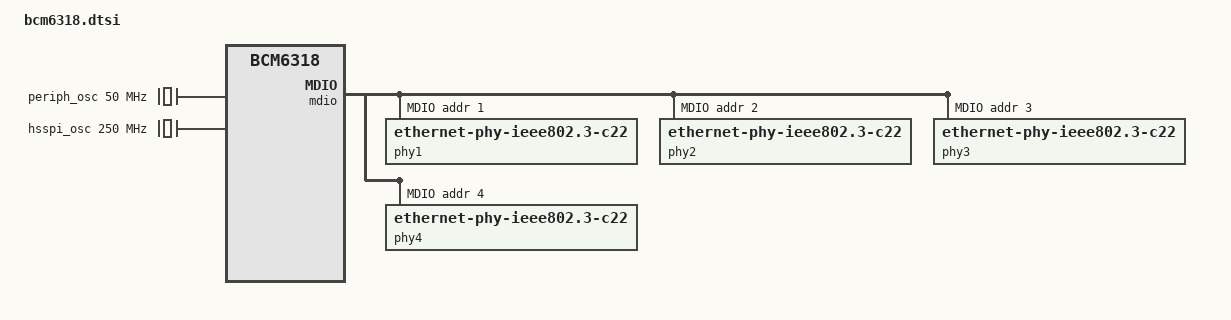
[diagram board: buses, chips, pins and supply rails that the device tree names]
// SPDX-License-Identifier: GPL-2.0-or-later

/dts-v1/;

#include <dt-bindings/clock/bcm6318-clock.h>
#include <dt-bindings/gpio/gpio.h>
#include <dt-bindings/input/input.h>
#include <dt-bindings/interrupt-controller/bcm6318-interrupt-controller.h>
#include <dt-bindings/reset/bcm6318-reset.h>
#include <dt-bindings/soc/bcm6318-pm.h>

/ {
	#address-cells = <1>;
	#size-cells = <1>;
	compatible = "brcm,bcm6318";

	aliases {
		pinctrl = &pinctrl;
		serial0 = &uart0;
		spi1 = &hsspi;
	};

	chosen {
		bootargs = "earlycon";
		stdout-path = "serial0:115200n8";
	};

	clocks {
		periph_osc: periph-osc {
			compatible = "fixed-clock";

			#clock-cells = <0>;

			clock-frequency = <50000000>;
			clock-output-names = "periph";
		};

		hsspi_osc: hsspi-osc {
			compatible = "fixed-clock";

			#clock-cells = <0>;

			clock-frequency = <250000000>;
			clock-output-names = "hsspi_osc";
		};
	};

	cpus {
		#address-cells = <1>;
		#size-cells = <0>;
		mips-hpt-frequency = <166500000>;

		cpu@0 {
			compatible = "brcm,bmips3300", "mips,mips4Kc";
			device_type = "cpu";
			reg = <0>;
		};
	};

	cpu_intc: interrupt-controller {
		#address-cells = <0>;
		compatible = "mti,cpu-interrupt-controller";

		interrupt-controller;
		#interrupt-cells = <1>;
	};

	memory@0 {
		device_type = "memory";
		reg = <0 0>;
	};

	ubus {
		#address-cells = <1>;
		#size-cells = <1>;

		compatible = "simple-bus";
		ranges;

		periph_clk: clock-controller@10000004 {
			compatible = "brcm,bcm6318-clocks";
			reg = <0x10000004 0x4>;
			#clock-cells = <1>;
		};

		ubus_clk: clock-controller@10000008 {
			compatible = "brcm,bcm6318-ubus-clocks";
			reg = <0x10000008 0x4>;
			#clock-cells = <1>;
		};

		periph_rst: reset-controller@10000010 {
			compatible = "brcm,bcm6345-reset";
			reg = <0x10000010 0x4>;
			#reset-cells = <1>;
		};

		ext_intc: interrupt-controller@10000018 {
			#address-cells = <1>;
			compatible = "brcm,bcm6318-ext-intc";
			reg = <0x10000018 0x4>;

			interrupt-controller;
			#interrupt-cells = <2>;

			interrupts = <BCM6318_IRQ_EXT0>,
				     <BCM6318_IRQ_EXT1>,
				     <BCM6318_IRQ_EXT2>,
				     <BCM6318_IRQ_EXT3>;
		};

		periph_intc: interrupt-controller@10000020 {
			#address-cells = <1>;
			compatible = "brcm,bcm6345-l1-intc";
			reg = <0x10000020 0x20>;

			interrupt-controller;
			#interrupt-cells = <1>;

			interrupt-parent = <&cpu_intc>;
			interrupts = <2>, <3>;
		};

		wdt: watchdog@10000068 {
			compatible = "brcm,bcm7038-wdt";
			reg = <0x10000068 0xc>;

			clocks = <&periph_osc>;

			timeout-sec = <30>;
		};

		pll_cntl: syscon@10000074 {
			compatible = "syscon", "simple-mfd";
			reg = <0x10000074 0x4>;
			native-endian;

			syscon-reboot {
				compatible = "syscon-reboot";
				offset = <0>;
				mask = <0x1>;
			};
		};

		gpio_cntl: syscon@10000080 {
			compatible = "brcm,bcm6318-gpio-sysctl",
				     "syscon", "simple-mfd";
			reg = <0x10000080 0x80>;
			ranges = <0 0x10000080 0x80>;
			native-endian;

			gpio: gpio@0 {
				compatible = "brcm,bcm6318-gpio";
				reg-names = "dirout", "dat";
				reg = <0x0 0x8>, <0x8 0x8>;

				gpio-controller;
				gpio-ranges = <&pinctrl 0 0 50>;
				#gpio-cells = <2>;
			};

			pinctrl: pinctrl@18 {
				compatible = "brcm,bcm6318-pinctrl";
				reg = <0x18 0x10>, <0x54 0x18>;

				pinctrl_ephy0_spd_led: ephy0_spd_led-pins {
					function = "ephy0_spd_led";
					pins = "gpio0";
				};

				pinctrl_ephy1_spd_led: ephy1_spd_led-pins {
					function = "ephy1_spd_led";
					pins = "gpio1";
				};

				pinctrl_ephy2_spd_led: ephy2_spd_led-pins {
					function = "ephy2_spd_led";
					pins = "gpio2";
				};

				pinctrl_ephy3_spd_led: ephy3_spd_led-pins {
					function = "ephy3_spd_led";
					pins = "gpio3";
				};

				pinctrl_ephy0_act_led: ephy0_act_led-pins {
					function = "ephy0_act_led";
					pins = "gpio4";
				};

				pinctrl_ephy1_act_led: ephy1_act_led-pins {
					function = "ephy1_act_led";
					pins = "gpio5";
				};

				pinctrl_ephy2_act_led: ephy2_act_led-pins {
					function = "ephy2_act_led";
					pins = "gpio6";
				};

				pinctrl_ephy3_act_led: ephy3_act_led-pins {
					function = "ephy3_act_led";
					pins = "gpio7";
				};

				pinctrl_serial_led: serial_led-pins {
					pinctrl_serial_led_data: serial_led_data-pins {
						function = "serial_led_data";
						pins = "gpio6";
					};

					pinctrl_serial_led_clk: serial_led_clk-pins {
						function = "serial_led_clk";
						pins = "gpio7";
					};
				};

				pinctrl_inet_act_led: inet_act_led-pins {
					function = "inet_act_led";
					pins = "gpio8";
				};

				pinctrl_inet_fail_led: inet_fail_led-pins {
					function = "inet_fail_led";
					pins = "gpio9";
				};

				pinctrl_dsl_led: dsl_led-pins {
					function = "dsl_led";
					pins = "gpio10";
				};

				pinctrl_post_fail_led: post_fail_led-pins {
					function = "post_fail_led";
					pins = "gpio11";
				};

				pinctrl_wlan_wps_led: wlan_wps_led-pins {
					function = "wlan_wps_led";
					pins = "gpio12";
				};

				pinctrl_usb_pwron: usb_pwron-pins {
					function = "usb_pwron";
					pins = "gpio13";
				};

				pinctrl_usb_device_led: usb_device_led-pins {
					function = "usb_device_led";
					pins = "gpio13";
				};

				pinctrl_usb_active: usb_active-pins {
					function = "usb_active";
					pins = "gpio40";
				};
			};
		};

		uart0: serial@10000100 {
			compatible = "brcm,bcm6345-uart";
			reg = <0x10000100 0x18>;

			interrupt-parent = <&periph_intc>;
			interrupts = <BCM6318_IRQ_UART0>;

			clocks = <&periph_osc>;
			clock-names = "periph";

			status = "disabled";
		};

		leds: led-controller@10000200 {
			#address-cells = <1>;
			#size-cells = <0>;
			compatible = "brcm,bcm6328-leds";
			reg = <0x10000200 0x24>;

			status = "disabled";
		};

		periph_pwr: power-controller@100008e8 {
			compatible = "brcm,bcm6318-power-controller";
			reg = <0x100008e8 0x4>;

			#power-domain-cells = <1>;
		};

		hsspi: spi@10003000 {
			#address-cells = <1>;
			#size-cells = <0>;
			compatible = "brcm,bcm6328-hsspi";
			reg = <0x10003000 0x600>;

			interrupt-parent = <&periph_intc>;
			interrupts = <BCM6318_IRQ_HSSPI>;

			clocks = <&periph_clk BCM6318_CLK_HSSPI>,
				 <&hsspi_osc>;
			clock-names = "hsspi",
				      "pll";

			resets = <&periph_rst BCM6318_RST_SPI>;

			status = "disabled";
		};

		ehci: usb@10005000 {
			compatible = "brcm,bcm6318-ehci", "generic-ehci";
			reg = <0x10005000 0x100>;
			big-endian;
			spurious-oc;

			interrupt-parent = <&periph_intc>;
			interrupts = <BCM6318_IRQ_EHCI>;

			phys = <&usbh 0>;
			phy-names = "usb";

			status = "disabled";
		};

		ohci: usb@10005100 {
			compatible = "brcm,bcm6318-ohci", "generic-ohci";
			reg = <0x10005100 0x100>;
			big-endian;
			no-big-frame-no;

			interrupt-parent = <&periph_intc>;
			interrupts = <BCM6318_IRQ_OHCI>;

			phys = <&usbh 0>;
			phy-names = "usb";

			status = "disabled";
		};

		usbh: usb-phy@10005200 {
			compatible = "brcm,bcm6318-usbh-phy";
			reg = <0x10005200 0x38>;

			#phy-cells = <1>;

			clocks = <&periph_clk BCM6318_CLK_USBD>,
				 <&ubus_clk BCM6318_UCLK_USB>;
			clock-names = "usbh",
				      "usb_ref";

			power-domains = <&periph_pwr BCM6318_POWER_DOMAIN_USB>;
			resets = <&periph_rst BCM6318_RST_USBH>;

			status = "disabled";
		};

		pcie: pcie@10010000 {
			compatible = "brcm,bcm6318-pcie";
			reg = <0x10010000 0x10000>;
			#address-cells = <3>;
			#size-cells = <2>;

			device_type = "pci";
			bus-range = <0x00 0x01>;
			ranges = <0x2000000 0 0x10200000 0x10200000 0 0x100000>;
			linux,pci-probe-only = <1>;

			interrupt-parent = <&periph_intc>;
			interrupts = <BCM6318_IRQ_PCIE_RC>;

			clocks = <&periph_clk BCM6318_CLK_PCIE>,
				 <&periph_clk BCM6318_CLK_PCIE25>,
				 <&ubus_clk BCM6318_UCLK_PCIE>;
			clock-names = "pcie",
				      "pcie25",
				      "pcie-ubus";

			resets = <&periph_rst BCM6318_RST_PCIE>,
				 <&periph_rst BCM6318_RST_PCIE_EXT>,
				 <&periph_rst BCM6318_RST_PCIE_CORE>,
				 <&periph_rst BCM6318_RST_PCIE_HARD>;
			reset-names = "pcie",
				      "pcie-ext",
				      "pcie-core",
				      "pcie-hard";

			power-domains = <&periph_pwr BCM6318_POWER_DOMAIN_PCIE>;

			status = "disabled";
		};

		switch0: switch@10080000 {
			#address-cells = <1>;
			#size-cells = <0>;
			compatible = "brcm,bcm6328-switch";
			reg = <0x10080000 0x8000>;
			big-endian;

			ports {
				#address-cells = <1>;
				#size-cells = <0>;

				port@8 {
					reg = <8>;
					label = "cpu";

					phy-mode = "internal";
					ethernet = <&ethernet>;

					fixed-link {
						speed = <1000>;
						full-duplex;
					};
				};
			};
		};

		mdio: mdio@100800b0 {
			#address-cells = <1>;
			#size-cells = <0>;
			compatible = "brcm,bcm6368-mdio-mux";
			reg = <0x100800b0 0x8>;

			mdio_int: mdio@0 {
				#address-cells = <1>;
				#size-cells = <0>;
				reg = <0>;

				phy1: ethernet-phy@1 {
					compatible = "ethernet-phy-ieee802.3-c22";
					reg = <1>;
				};

				phy2: ethernet-phy@2 {
					compatible = "ethernet-phy-ieee802.3-c22";
					reg = <2>;
				};

				phy3: ethernet-phy@3 {
					compatible = "ethernet-phy-ieee802.3-c22";
					reg = <3>;
				};

				phy4: ethernet-phy@4 {
					compatible = "ethernet-phy-ieee802.3-c22";
					reg = <4>;
				};
			};

			mdio_ext: mdio@1 {
				#address-cells = <1>;
				#size-cells = <0>;
				reg = <1>;
			};
		};

		ethernet: ethernet@10088000 {
			compatible = "brcm,bcm6318-enetsw";
			reg = <0x10088000 0x80>,
			      <0x10088200 0x80>,
			      <0x10088400 0x80>;
			reg-names = "dma",
				    "dma-channels",
				    "dma-sram";

			interrupt-parent = <&periph_intc>;
			interrupts = <BCM6318_IRQ_ENETSW_RX_DMA0>,
				     <BCM6318_IRQ_ENETSW_TX_DMA0>;
			interrupt-names = "rx",
					  "tx";

			clocks = <&periph_clk BCM6318_CLK_ROBOSW250>,
				 <&periph_clk BCM6318_CLK_ROBOSW025>,
				 <&ubus_clk BCM6318_UCLK_ROBOSW>;

			resets = <&periph_rst BCM6318_RST_ENETSW>,
				 <&periph_rst BCM6318_RST_EPHY>;

			power-domains = <&periph_pwr BCM6318_POWER_DOMAIN_EPHY0>,
					<&periph_pwr BCM6318_POWER_DOMAIN_EPHY1>,
					<&periph_pwr BCM6318_POWER_DOMAIN_EPHY2>,
					<&periph_pwr BCM6318_POWER_DOMAIN_EPHY3>;

			dma-rx = <0>;
			dma-tx = <1>;

			status = "disabled";
		};
	};
};
